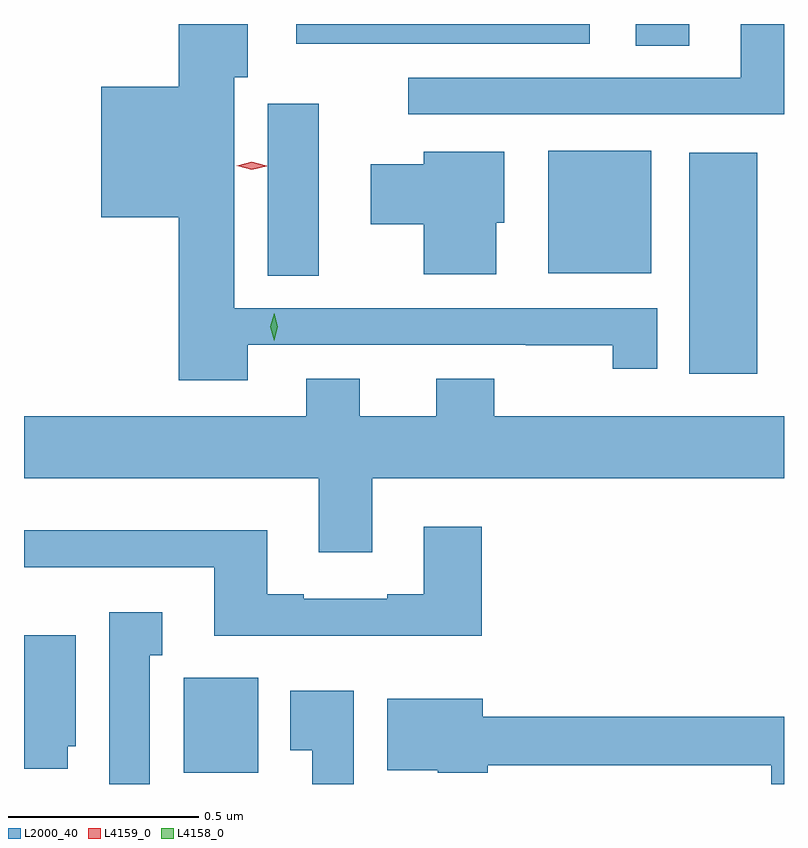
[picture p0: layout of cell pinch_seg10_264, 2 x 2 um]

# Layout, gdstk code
import gdstk
lib = gdstk.Library(unit=1e-6, precision=1e-09)
def R(c, l, rs):  # rectangles x0, y0, x1, y1
    for r in rs: c.add(gdstk.rectangle(r[:2], r[2:], *l))
def P(c, l, *ps):  # polygons
    for p in ps: c.add(gdstk.Polygon(p, *l))
L2000_40 = (2000, 40)
L4158_0 = (4158, 0)
L4159_0 = (4159, 0)

pinch_seg10_264 = lib.new_cell('pinch_seg10_264')
R(pinch_seg10_264, L2000_40, [(582.057,1310.198,582.253,1310.448), (583.388,1311.248,583.567,1311.829), (582.278,1311.505,582.412,1311.958), (583.016,1311.512,583.288,1311.835), (583.247,1312.111,583.387,1312.168), (582.354,1312.116,583.126,1312.168)])
P(pinch_seg10_264, L2000_40, [(583.637,1312.168),(583.523,1312.168),(583.523,1312.026),(582.648,1312.026),(582.648,1311.93),(583.637,1311.93)],
  [(582.226,1311.324),(582.958,1311.324),(582.958,1311.323),(583.186,1311.323),(583.186,1311.261),(583.303,1311.261),(583.303,1311.42),(582.19,1311.42),(582.19,1312.028),(582.226,1312.028),(582.226,1312.168),(582.044,1312.168),(582.044,1312.003),(581.84,1312.003),(581.84,1311.659),(582.044,1311.659),(582.044,1311.23),(582.226,1311.23)],
  [(582.88,1311.645),(582.901,1311.645),(582.901,1311.832),(582.689,1311.832),(582.689,1311.799),(582.549,1311.799),(582.549,1311.641),(582.689,1311.641),(582.689,1311.509),(582.88,1311.509)],
  [(582.553,1310.972),(583.637,1310.972),(583.637,1311.136),(582.875,1311.136),(582.875,1311.235),(582.722,1311.235),(582.722,1311.136),(582.52,1311.136),(582.52,1311.235),(582.38,1311.235),(582.38,1311.136),(581.637,1311.136),(581.637,1310.972),(582.413,1310.972),(582.413,1310.778),(582.553,1310.778)],
  [(582.842,1310.845),(582.689,1310.845),(582.689,1310.668),(582.593,1310.668),(582.593,1310.655),(582.373,1310.655),(582.373,1310.668),(582.277,1310.668),(582.277,1310.836),(581.637,1310.836),(581.637,1310.739),(582.137,1310.739),(582.137,1310.558),(582.842,1310.558)],
  [(581.968,1310.507),(582.001,1310.507),(582.001,1310.62),(581.861,1310.62),(581.861,1310.168),(581.968,1310.168)],
  [(581.752,1310.268),(581.773,1310.268),(581.773,1310.56),(581.637,1310.56),(581.637,1310.208),(581.752,1310.208)],
  [(582.505,1310.413),(582.338,1310.413),(582.338,1310.257),(582.395,1310.257),(582.395,1310.168),(582.505,1310.168)],
  [(583.637,1310.345),(582.844,1310.345),(582.844,1310.392),(582.593,1310.392),(582.593,1310.204),(582.726,1310.204),(582.726,1310.198),(582.857,1310.198),(582.857,1310.217),(583.603,1310.217),(583.603,1310.168),(583.637,1310.168)])
P(pinch_seg10_264, L4158_0, [(582.295,1311.335),(582.295,1311.335),(582.285,1311.371),(582.295,1311.407),(582.295,1311.407),(582.295,1311.407),(582.305,1311.371),(582.295,1311.335)])
P(pinch_seg10_264, L4159_0, [(582.236,1311.785),(582.197,1311.795),(582.197,1311.795),(582.197,1311.795),(582.236,1311.805),(582.276,1311.795),(582.276,1311.795),(582.276,1311.794)])

lib.write_gds('pinch_seg10_264.gds')
